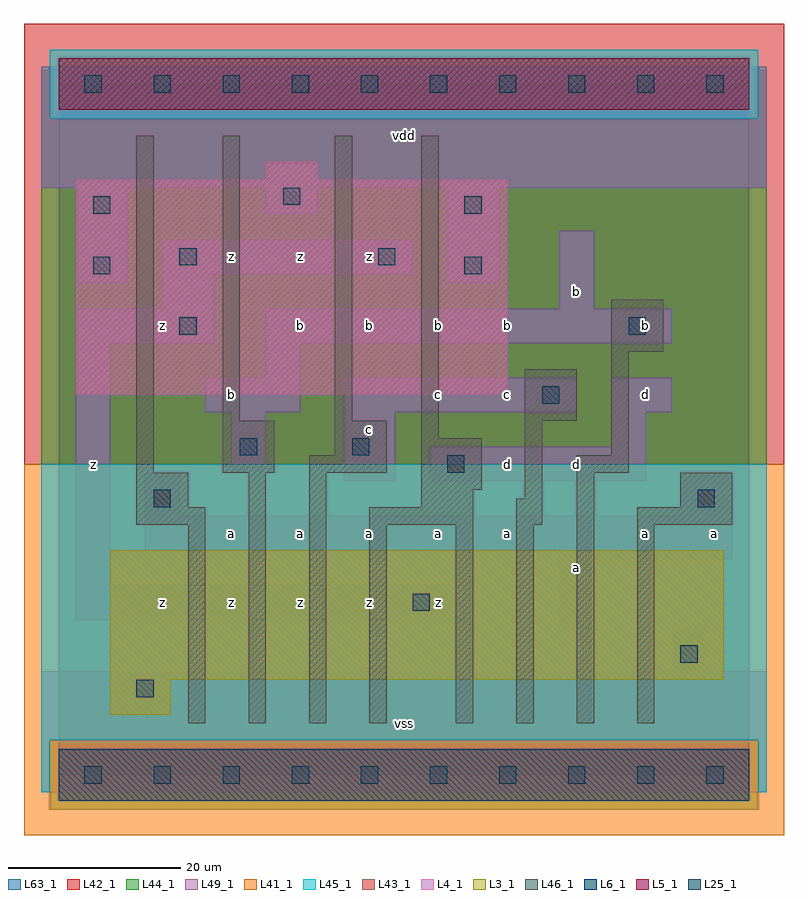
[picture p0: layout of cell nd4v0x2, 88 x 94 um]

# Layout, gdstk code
import gdstk
lib = gdstk.Library(unit=1e-6, precision=1e-09)
def R(c, l, rs):  # rectangles x0, y0, x1, y1
    for r in rs: c.add(gdstk.rectangle(r[:2], r[2:], *l))
def A(c, l, x, y, w, h, nx, ny, dx, dy):  # array of equal rectangles
    R(c, l, [(x+i*dx, y+j*dy, x+i*dx+w, y+j*dy+h) for i in range(nx) for j in range(ny)])
L3_1 = (3, 1)
L4_1 = (4, 1)
L5_1 = (5, 1)
L6_1 = (6, 1)
L25_1 = (25, 1)
L41_1 = (41, 1)
L42_1 = (42, 1)
L43_1 = (43, 1)
L44_1 = (44, 1)
L45_1 = (45, 1)
L46_1 = (46, 1)
L49_1 = (49, 1)
L63_1 = (63, 1)

nd4v0x2 = lib.new_cell('nd4v0x2')
R(nd4v0x2, L3_1, [(6,7,13,11), (6,11,77,26)])
R(nd4v0x2, L4_1, [(2,44,52,69), (24,69,30,71)])
R(nd4v0x2, L5_1, [(0,77,80,83)])
R(nd4v0x2, L6_1, [(0,-3,80,3), (0,-3,80,3)])
A(nd4v0x2, L25_1, 3, -1, 2, 2, 10, 2, 8, 80)
R(nd4v0x2, L25_1, [(9,9,11,11), (72,13,74,15), (41,19,43,21), (11,31,13,33), (74,31,76,33), (45,35,47,37), (21,37,23,39), (34,37,36,39), (56,43,58,45), (14,51,16,53), (66,51,68,53), (4,58,6,60), (47,58,49,60), (14,59,16,61), (37,59,39,61), (4,65,6,67), (47,65,49,67), (26,66,28,68)])
R(nd4v0x2, L41_1, [(-4,-7,84,36)])
R(nd4v0x2, L42_1, [(-4,36,84,87)])
R(nd4v0x2, L43_1, [(0,-3,80,3), (6,7,13,11), (6,11,77,26), (2,44,52,69), (24,69,30,71), (0,77,80,83)])
R(nd4v0x2, L44_1, [(-1,-4,81,4), (-2,36,82,76), (-2,76,-1,82), (81,76,82,82)])
R(nd4v0x2, L45_1, [(-2,-2,-1,4), (81,-2,82,4), (-2,4,82,36), (-1,76,81,84)])
R(nd4v0x2, L46_1, [(15,6,17,29), (22,6,24,35), (29,6,31,35), (36,6,38,29), (46,6,48,29), (53,6,55,29), (60,6,62,35), (67,6,69,29), (9,29,17,31), (36,29,48,31), (53,29,56,32), (67,29,78,31), (9,31,15,35), (42,31,48,33), (72,31,78,35), (54,32,56,41), (42,33,49,39), (9,35,11,74), (19,35,25,41), (29,35,38,37), (60,35,66,37), (32,37,38,41), (64,37,66,49), (42,39,44,74), (19,41,21,74), (32,41,34,74), (54,41,60,47), (64,49,70,55)])
R(nd4v0x2, L49_1, [(-2,-2,82,12), (71,12,75,17), (58,17,62,25), (2,18,47,22), (2,22,6,50), (58,25,78,26), (10,26,78,30), (10,30,14,35), (72,30,78,35), (33,34,39,42), (43,34,68,38), (20,35,24,42), (64,38,68,42), (17,42,28,46), (33,42,60,46), (64,42,71,46), (24,46,28,50), (2,50,18,54), (24,50,71,54), (12,54,18,58), (58,54,62,63), (2,57,8,68), (45,57,51,68), (12,58,41,62), (24,65,30,68), (-2,68,82,82)])
R(nd4v0x2, L63_1, [(0,0,80,80)])
nd4v0x2.add(gdstk.Label('z', (4,36), layer=49, texttype=1))
nd4v0x2.add(gdstk.Label('z', (12,20), layer=49, texttype=1))
nd4v0x2.add(gdstk.Label('z', (20,20), layer=49, texttype=1))
nd4v0x2.add(gdstk.Label('a', (20,28), layer=49, texttype=1))
nd4v0x2.add(gdstk.Label('z', (28,20), layer=49, texttype=1))
nd4v0x2.add(gdstk.Label('a', (28,28), layer=49, texttype=1))
nd4v0x2.add(gdstk.Label('b', (20,44), layer=49, texttype=1))
nd4v0x2.add(gdstk.Label('b', (28,52), layer=49, texttype=1))
nd4v0x2.add(gdstk.Label('z', (12,52), layer=49, texttype=1))
nd4v0x2.add(gdstk.Label('z', (20,60), layer=49, texttype=1))
nd4v0x2.add(gdstk.Label('z', (28,60), layer=49, texttype=1))
nd4v0x2.add(gdstk.Label('vss', (40,6), layer=49, texttype=1))
nd4v0x2.add(gdstk.Label('z', (36,20), layer=49, texttype=1))
nd4v0x2.add(gdstk.Label('a', (36,28), layer=49, texttype=1))
nd4v0x2.add(gdstk.Label('z', (44,20), layer=49, texttype=1))
nd4v0x2.add(gdstk.Label('a', (44,28), layer=49, texttype=1))
nd4v0x2.add(gdstk.Label('c', (36,40), layer=49, texttype=1))
nd4v0x2.add(gdstk.Label('c', (44,44), layer=49, texttype=1))
nd4v0x2.add(gdstk.Label('b', (36,52), layer=49, texttype=1))
nd4v0x2.add(gdstk.Label('b', (44,52), layer=49, texttype=1))
nd4v0x2.add(gdstk.Label('z', (36,60), layer=49, texttype=1))
nd4v0x2.add(gdstk.Label('vdd', (40,74), layer=49, texttype=1))
nd4v0x2.add(gdstk.Label('a', (52,28), layer=49, texttype=1))
nd4v0x2.add(gdstk.Label('a', (60,24), layer=49, texttype=1))
nd4v0x2.add(gdstk.Label('d', (52,36), layer=49, texttype=1))
nd4v0x2.add(gdstk.Label('c', (52,44), layer=49, texttype=1))
nd4v0x2.add(gdstk.Label('d', (60,36), layer=49, texttype=1))
nd4v0x2.add(gdstk.Label('b', (52,52), layer=49, texttype=1))
nd4v0x2.add(gdstk.Label('b', (60,56), layer=49, texttype=1))
nd4v0x2.add(gdstk.Label('a', (68,28), layer=49, texttype=1))
nd4v0x2.add(gdstk.Label('a', (76,28), layer=49, texttype=1))
nd4v0x2.add(gdstk.Label('d', (68,44), layer=49, texttype=1))
nd4v0x2.add(gdstk.Label('b', (68,52), layer=49, texttype=1))

lib.write_gds('nd4v0x2.gds')
